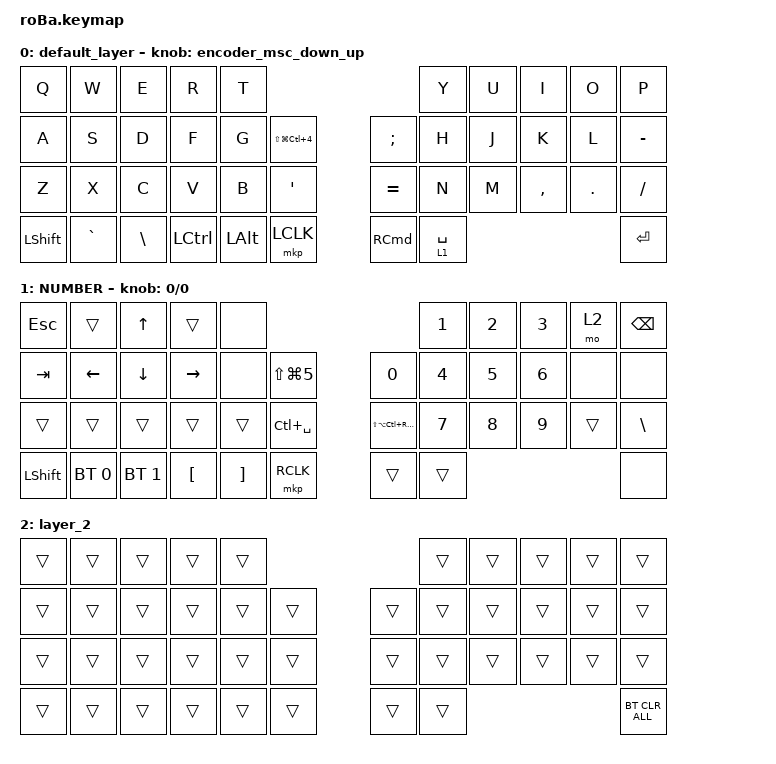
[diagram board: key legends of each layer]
#include <behaviors.dtsi>
#include <dt-bindings/zmk/bt.h>
#include <dt-bindings/zmk/keys.h>
#include <dt-bindings/zmk/pointing.h>

#define ZMK_POINTING_DEFAULT_SCRL_VAL 80

&mt {
    flavor = "balanced";
    quick-tap-ms = <0>;
};

&trackball {
    automouse-layer = <4>;
    scroll-layers = <5>;

    // arrows {
    //     layers = <3>;
    //     bindings =
    //         <&kp RIGHT_ARROW>,
    //         <&kp LEFT_ARROW>,
    //         <&kp UP_ARROW>,
    //         <&kp DOWN_ARROW>;
    //     tick = <10>;
    //     wait-ms = <5>;
    //     tap-ms = <5>;
    // };
};

/ {
    combos {
        compatible = "zmk,combos";

        tab {
            bindings = <&kp TAB>;
            key-positions = <11 12>;
        };

        shift_tab {
            bindings = <&kp LS(TAB)>;
            key-positions = <12 13>;
        };

        muhennkann {
            bindings = <&to_layer_0 INT_MUHENKAN>;
            key-positions = <11 10>;
        };

        double_quotation {
            bindings = <&kp DOUBLE_QUOTES>;
            key-positions = <20 21>;
        };

        eq {
            bindings = <&kp EQUAL>;
            key-positions = <24 25>;
        };
    };

    macros {
        to_layer_0: to_layer_0 {
            compatible = "zmk,behavior-macro-one-param";
            #binding-cells = <1>;
            bindings = <&to 0 &macro_param_1to1 &kp MACRO_PLACEHOLDER>;
            label = "TO_LAYER_0";
        };
    };

    behaviors {
        encoder_msc_down_up: encoder_msc_down_up {
            compatible = "zmk,behavior-sensor-rotate";
            label = "ENCODER_MSC_DOWN_UP";
            #sensor-binding-cells = <0>;
            bindings = <&msc SCRL_DOWN>, <&msc SCRL_UP>;

            tap-ms = <20>;
        };

        lt_to_layer_0: lt_to_layer_0 {
            compatible = "zmk,behavior-hold-tap";
            label = "LAYER_TAP_TO_0";
            bindings = <&mo>, <&to_layer_0>;

            #binding-cells = <2>;
            tapping-term-ms = <200>;
        };
    };

    keymap {
        compatible = "zmk,keymap";

        default_layer {
            bindings = <
&kp Q           &kp W      &kp E          &kp R             &kp T                                                          &kp Y        &kp U  &kp I      &kp O    &kp P
&kp A           &kp S      &kp D          &kp F             &kp G         &kp LS(LG(LC(NUMBER_4)))      &kp SEMICOLON      &kp H        &kp J  &kp K      &kp L    &kp MINUS
&kp Z           &kp X      &kp C          &kp V             &kp B         &kp SQT                       &kp EQUAL          &kp N        &kp M  &kp COMMA  &kp DOT  &kp SLASH
&kp LEFT_SHIFT  &kp GRAVE  &kp BACKSLASH  &kp LEFT_CONTROL  &kp LEFT_ALT  &mkp LCLK                     &kp RIGHT_COMMAND  &lt 1 SPACE                             &kp ENTER
            >;

            sensor-bindings = <&encoder_msc_down_up>;
        };

        NUMBER {
            bindings = <
&kp ESCAPE      &trans        &kp UP_ARROW  &trans            &none                                                                 &kp NUMBER_1  &kp NUMBER_2  &kp NUMBER_3  &mo 2   &kp BACKSPACE
&kp TAB         &kp LEFT      &kp DOWN      &kp RIGHT         &none              &kp LS(LG(N5))      &kp N0                         &kp NUMBER_4  &kp NUMBER_5  &kp NUMBER_6  &none   &none
&trans          &trans        &trans        &trans            &trans             &kp LC(SPACE)       &kp LS(LA(LC(RIGHT_COMMAND)))  &kp NUMBER_7  &kp NUMBER_8  &kp NUMBER_9  &trans  &kp BACKSLASH
&kp LEFT_SHIFT  &bt BT_SEL 0  &bt BT_SEL 1  &kp LEFT_BRACKET  &kp RIGHT_BRACKET  &mkp RCLK           &trans                         &trans                                            &none
            >;

            sensor-bindings = <&inc_dec_kp 0 0>;
        };

        layer_2 {
            bindings = <
&trans  &trans  &trans  &trans  &trans                      &trans  &trans  &trans  &trans  &trans
&trans  &trans  &trans  &trans  &trans  &trans      &trans  &trans  &trans  &trans  &trans  &trans
&trans  &trans  &trans  &trans  &trans  &trans      &trans  &trans  &trans  &trans  &trans  &trans
&trans  &trans  &trans  &trans  &trans  &trans      &trans  &trans                          &bt BT_CLR_ALL
            >;
        };
    };
};
